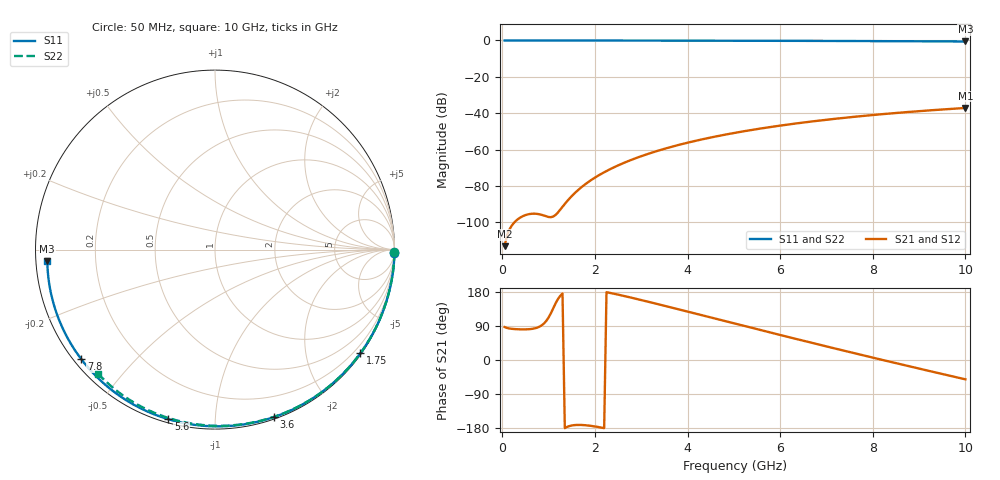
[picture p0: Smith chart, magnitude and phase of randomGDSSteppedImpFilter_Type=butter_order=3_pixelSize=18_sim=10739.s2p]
! freq	dB(S11)	phase(S11)	dB(S12)	phase(S12)
!  dB(S21)	phase(S21)	dB(S22)	phase(S22)
!S-par simulation data
#  GHz  S  DB  R 50
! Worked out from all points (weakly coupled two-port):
!   200 points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, 50 MHz to 10 GHz, reference 50 ohm
!   highest |S21| = -37.14 dB at 10 GHz (marker M1); lowest = -113.1 dB at 50 MHz (marker M2)
!   lowest |S11| = -0.6 dB at 10 GHz (marker M3), VSWR 30.59, Z = 1.64 - j1.67 ohm
!   |S11| at or under -10 dB: nowhere
!   |S22| runs from -0.4 to 0.0 dB; largest |S21 - S12| = 0
!   S11 on the Smith chart (normalised r, x): 50 MHz: open; 1.75 GHz: 0.03, -3.13; 3.6 GHz: 0.02, -1.41; 5.6 GHz: 0.02, -0.76; 7.8 GHz: 0.02, -0.36; 10 GHz: 0.03, -0.03
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0.05  -0.00 -1.0  -113.14 87.0  -113.14 87.0  -0.00 -0.8
0.45  -0.01 -9.3  -96.56 80.8  -96.56 80.8  -0.01 -6.9
0.85  -0.02 -17.4  -95.91 91.4  -95.91 91.4  -0.02 -13.0
1.3  -0.03 -26.5  -91.50 175.6  -91.50 175.6  -0.02 -19.8
1.75  -0.05 -35.5  -79.88 -171.7  -79.88 -171.7  -0.03 -26.5
1.9  -0.05 -38.4  -77.10 -173.6  -77.10 -173.6  -0.04 -28.8
2.05  -0.05 -41.4  -74.67 -176.4  -74.67 -176.4  -0.04 -31.0
2.25  -0.06 -45.3  -71.81 179.0  -71.81 179.0  -0.04 -33.9
2.45  -0.06 -49.1  -69.30 173.9  -69.30 173.9  -0.05 -36.9
2.9  -0.07 -57.7  -64.58 161.2  -64.58 161.2  -0.06 -43.4
3.4  -0.09 -67.0  -60.35 146.2  -60.35 146.2  -0.07 -50.5
3.6  -0.09 -70.7  -58.88 140.1  -58.88 140.1  -0.07 -53.4
4.3  -0.12 -83.2  -54.47 118.5  -54.47 118.5  -0.09 -63.0
5.05  -0.15 -96.1  -50.68 95.2  -50.68 95.2  -0.11 -73.1
5.6  -0.17 -105.4  -48.35 78.3  -48.35 78.3  -0.13 -80.3
6.15  -0.20 -114.4  -46.31 61.5  -46.31 61.5  -0.15 -87.4
6.7  -0.24 -123.2  -44.51 44.8  -44.51 44.8  -0.18 -94.2
7.25  -0.28 -132.0  -42.91 28.4  -42.91 28.4  -0.21 -101.0
7.8  -0.33 -140.7  -41.49 12.1  -41.49 12.1  -0.25 -107.6
8.35  -0.38 -149.4  -40.22 -3.9  -40.22 -3.9  -0.29 -114.1
9.2  -0.47 -163.0  -38.50 -28.4  -38.50 -28.4  -0.36 -124.0
10  -0.57 -176.2  -37.14 -51.0  -37.14 -51.0  -0.45 -133.2
